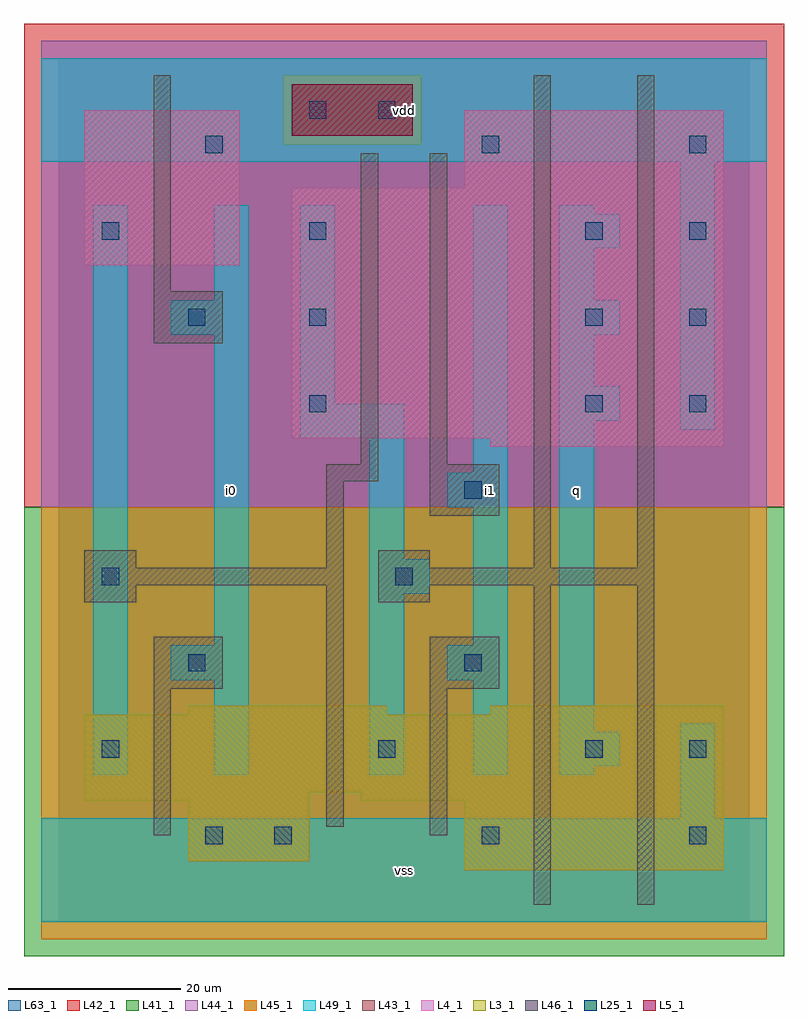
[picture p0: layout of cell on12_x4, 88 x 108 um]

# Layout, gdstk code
import gdstk
lib = gdstk.Library(unit=1e-6, precision=1e-09)
def R(c, l, rs):  # rectangles x0, y0, x1, y1
    for r in rs: c.add(gdstk.rectangle(r[:2], r[2:], *l))
def A(c, l, x, y, w, h, nx, ny, dx, dy):  # array of equal rectangles
    R(c, l, [(x+i*dx, y+j*dy, x+i*dx+w, y+j*dy+h) for i in range(nx) for j in range(ny)])
L3_1 = (3, 1)
L4_1 = (4, 1)
L5_1 = (5, 1)
L25_1 = (25, 1)
L41_1 = (41, 1)
L42_1 = (42, 1)
L43_1 = (43, 1)
L44_1 = (44, 1)
L45_1 = (45, 1)
L46_1 = (46, 1)
L49_1 = (49, 1)
L63_1 = (63, 1)

on12_x4 = lib.new_cell('on12_x4')
R(on12_x4, L3_1, [(47,6,77,14), (15,7,29,14), (3,14,29,15), (35,14,77,15), (3,15,77,24), (15,24,38,25), (50,24,77,25)])
R(on12_x4, L4_1, [(50,55,77,56), (27,56,77,85), (3,76,21,94), (47,85,77,94)])
R(on12_x4, L5_1, [(27,91,41,97)])
A(on12_x4, L25_1, 25, 9, 2, 2, 3, 1, 24, 0)
A(on12_x4, L25_1, 29, 59, 2, 2, 1, 3, 0, 10)
A(on12_x4, L25_1, 61, 59, 2, 2, 1, 3, 0, 10)
A(on12_x4, L25_1, 73, 59, 2, 2, 1, 4, 0, 10)
R(on12_x4, L25_1, [(17,9,19,11), (5,19,7,21), (37,19,39,21), (61,19,63,21), (73,19,75,21), (15,29,17,31), (47,29,49,31), (5,39,7,41), (39,39,41,41), (47,49,49,51), (15,69,17,71), (5,79,7,81), (17,89,19,91), (49,89,51,91), (29,93,31,95), (37,93,39,95)])
R(on12_x4, L41_1, [(-4,-4,84,48)])
R(on12_x4, L42_1, [(-4,48,84,104)])
R(on12_x4, L43_1, [(47,6,77,14), (15,7,29,14), (3,14,29,15), (35,14,77,15), (3,15,77,24), (15,24,38,25), (50,24,77,25), (50,55,77,56), (27,56,77,85), (3,76,21,94), (47,85,77,94), (27,91,41,97)])
R(on12_x4, L44_1, [(-2,48,82,90), (-2,90,26,98), (42,90,82,98), (-2,98,82,102)])
R(on12_x4, L45_1, [(-2,-2,82,48), (26,90,42,98)])
R(on12_x4, L46_1, [(55,2,57,39), (67,2,69,39), (11,10,13,27), (43,10,45,27), (31,11,33,39), (11,27,19,33), (43,27,51,33), (3,37,9,39), (37,37,43,39), (3,39,33,41), (37,39,69,41), (3,41,9,43), (31,41,33,51), (37,41,43,43), (55,41,57,98), (67,41,69,98), (43,47,51,53), (31,51,37,53), (35,53,37,89), (43,53,45,89), (11,67,19,73), (11,73,13,98)])
A(on12_x4, L49_1, 58, 58, 7, 4, 1, 3, 0, 10)
R(on12_x4, L49_1, [(-2,0,82,12), (72,12,76,23), (4,17,8,83), (18,17,22,28), (36,17,40,38), (48,17,52,28), (58,17,62,18), (58,18,65,22), (58,22,62,58), (13,28,22,32), (45,28,52,32), (18,32,22,68), (48,32,52,48), (36,38,43,42), (36,42,40,56), (45,48,52,52), (48,52,52,83), (28,56,40,60), (72,57,76,88), (28,60,32,83), (58,62,62,68), (13,68,22,72), (18,72,22,83), (58,72,62,78), (58,82,62,83), (-2,88,82,100)])
R(on12_x4, L63_1, [(0,0,80,100)])
on12_x4.add(gdstk.Label('i0', (20,50), layer=49, texttype=1))
on12_x4.add(gdstk.Label('vss', (40,6), layer=49, texttype=1))
on12_x4.add(gdstk.Label('i1', (50,50), layer=49, texttype=1))
on12_x4.add(gdstk.Label('vdd', (40,94), layer=49, texttype=1))
on12_x4.add(gdstk.Label('q', (60,50), layer=49, texttype=1))

lib.write_gds('on12_x4.gds')
